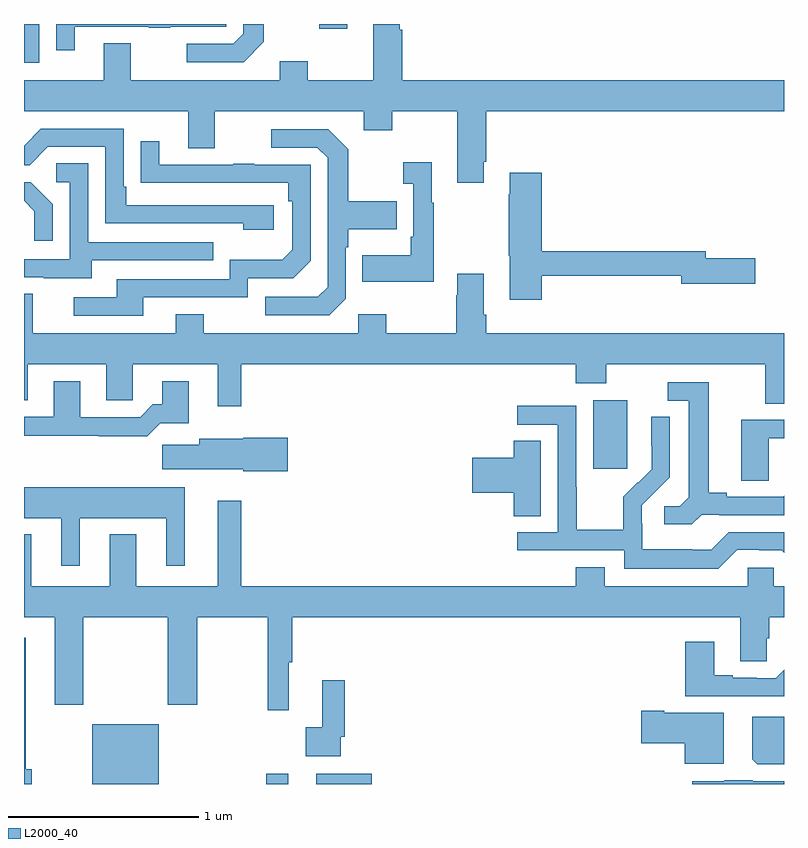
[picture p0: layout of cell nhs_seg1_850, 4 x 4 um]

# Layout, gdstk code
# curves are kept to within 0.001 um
import gdstk
lib = gdstk.Library(unit=1e-6, precision=1e-09)
def R(c, l, rs):  # rectangles x0, y0, x1, y1
    for r in rs: c.add(gdstk.rectangle(r[:2], r[2:], *l))
def P(c, l, *ps):  # polygons
    for p in ps: c.add(gdstk.Polygon(p, *l))
L2000_40 = (2000, 40)

nhs_seg1_850 = lib.new_cell('nhs_seg1_850')
R(nhs_seg1_850, L2000_40, [(157.358,540.199,157.708,540.514), (158.275,540.199,158.392,540.253), (158.537,540.199,158.83,540.253), (159.995,541.857,160.174,542.218), (157,543.996,157.08,544.199), (158.553,544.173,158.701,544.199)])
P(nhs_seg1_850, L2000_40, [(157.267,544.185),(157.657,544.185),(157.657,544.18),(157.769,544.18),(157.769,544.185),(158.064,544.185),(158.064,544.199),(157.171,544.199),(157.171,544.062),(157.267,544.062)],
  [(159.421,543.475),(159.434,543.475),(159.434,543.74),(161,543.74),(161,543.904),(158.99,543.904),(158.99,544.169),(158.977,544.169),(158.977,544.199),(158.837,544.199),(158.837,543.904),(158.493,543.904),(158.493,544.003),(158.345,544.003),(158.345,543.904),(157.561,543.904),(157.561,544.099),(157.421,544.099),(157.421,543.904),(157,543.904),(157,543.74),(157.865,543.74),(157.865,543.546),(158.005,543.546),(158.005,543.74),(158.789,543.74),(158.789,543.641),(158.937,543.641),(158.937,543.74),(159.281,543.74),(159.281,543.363),(159.421,543.363)],
  [(158.263,544.105),(158.263,544.199),(158.154,544.199),(158.154,544.149),(158.1,544.095),(157.857,544.095),(157.857,543.999),(158.157,543.999)],
  [(158.314,543.246),(157.537,543.246),(157.537,543.343),(157.524,543.343),(157.524,543.648),(157.089,543.648),(157,543.559),(157,543.456),(157.029,543.456),(157.125,543.552),(157.428,543.552),(157.428,543.15),(158.153,543.15),(158.153,543.116),(158.314,543.116)],
  [(158.694,542.754),(158.694,543.023),(158.707,543.023),(158.707,543.119),(158.963,543.119),(158.963,543.267),(158.707,543.267),(158.707,543.539),(158.601,543.645),(158.301,543.645),(158.301,543.549),(158.544,543.549),(158.598,543.495),(158.598,542.814),(158.547,542.763),(158.271,542.763),(158.271,542.667),(158.607,542.667)],
  [(157.627,542.76),(158.178,542.76),(158.178,542.862),(158.418,542.862),(158.508,542.952),(158.508,543.459),(158.213,543.459),(158.213,543.464),(158.101,543.464),(158.101,543.459),(157.711,543.459),(157.711,543.583),(157.615,543.583),(157.615,543.364),(158.392,543.363),(158.392,543.266),(158.412,543.266),(158.412,543.012),(158.359,542.959),(158.082,542.959),(158.082,542.856),(157.487,542.856),(157.487,542.76),(157.263,542.76),(157.263,542.664),(157.627,542.664)],
  [(159.157,543.259),(159.145,543.259),(159.145,543.472),(158.997,543.472),(158.997,543.359),(159.048,543.359),(159.048,543.079),(159.036,543.079),(159.036,542.983),(158.779,542.983),(158.779,542.843),(159.157,542.843)],
  [(157.357,542.955),(157.997,542.955),(157.997,543.051),(157.338,543.051),(157.338,543.467),(157.17,543.467),(157.17,543.366),(157.242,543.366),(157.242,542.961),(157,542.961),(157,542.865),(157.103,542.865),(157.103,542.861),(157.357,542.861)],
  [(159.725,542.874),(160.46,542.874),(160.46,542.831),(160.849,542.831),(160.849,542.966),(160.588,542.966),(160.588,543.002),(159.725,543.002),(159.725,543.415),(159.557,543.415),(159.557,543.302),(159.55,543.302),(159.55,542.979),(159.557,542.979),(159.557,542.748),(159.725,542.748)],
  [(157.152,543.25),(157.036,543.366),(157,543.366),(157,543.268),(157.055,543.213),(157.055,543.057),(157.152,543.057)],
  [(158.143,542.408),(159.905,542.408),(159.905,542.309),(160.065,542.309),(160.065,542.408),(160.901,542.408),(160.901,542.2),(161,542.2),(161,542.572),(159.434,542.572),(159.434,542.668),(159.421,542.668),(159.421,542.884),(159.281,542.884),(159.281,542.771),(159.274,542.771),(159.274,542.572),(158.907,542.572),(158.907,542.671),(158.76,542.671),(158.76,542.572),(157.947,542.572),(157.947,542.671),(157.799,542.671),(157.799,542.572),(157.045,542.572),(157.045,542.78),(157,542.78),(157,542.218),(157.021,542.218),(157.021,542.408),(157.433,542.408),(157.433,542.218),(157.572,542.218),(157.572,542.408),(158.021,542.408),(158.021,542.187),(158.143,542.187)],
  [(157.718,542.099),(157.867,542.099),(157.867,542.32),(157.727,542.32),(157.727,542.197),(157.678,542.197),(157.611,542.13),(157.297,542.13),(157.297,542.32),(157.157,542.32),(157.157,542.133),(157,542.133),(157,542.032),(157.393,542.032),(157.393,542.03),(157.649,542.03)],
  [(160.566,541.617),(160.66,541.617),(160.66,541.614),(161,541.614),(161,541.716),(160.994,541.71),(160.699,541.71),(160.699,541.733),(160.603,541.733),(160.603,542.313),(160.389,542.313),(160.389,542.217),(160.499,542.217),(160.499,541.709),(160.452,541.662),(160.371,541.662),(160.371,541.565),(160.514,541.565)],
  [(160.755,541.431),(160.871,541.431),(160.871,541.428),(160.989,541.428),(161,541.417),(161,541.524),(160.71,541.524),(160.617,541.431),(160.517,541.431),(160.517,541.435),(160.254,541.435),(160.254,541.569),(160.252,541.569),(160.252,541.666),(160.398,541.814),(160.398,542.132),(160.302,542.132),(160.302,541.978),(160.304,541.978),(160.304,541.856),(160.233,541.785),(160.23,541.788),(160.153,541.711),(160.153,541.537),(159.909,541.537),(159.909,541.76),(159.906,541.76),(159.906,542.19),(159.597,542.19),(159.597,542.091),(159.81,542.091),(159.81,541.524),(159.597,541.524),(159.597,541.428),(160.158,541.428),(160.158,541.331),(160.655,541.331)],
  [(160.92,542.019),(161,542.019),(161,542.115),(160.775,542.115),(160.775,541.795),(160.92,541.795)],
  [(158.389,542.022),(158.154,542.022),(158.154,542.017),(157.922,542.017),(157.922,541.985),(157.728,541.985),(157.728,541.856),(158.154,541.856),(158.154,541.844),(158.389,541.844)],
  [(159.721,542.006),(159.578,542.006),(159.578,541.916),(159.36,541.916),(159.36,541.733),(159.578,541.733),(159.578,541.609),(159.721,541.609)],
  [(157.294,541.598),(157.748,541.598),(157.748,541.347),(157.846,541.347),(157.846,541.762),(157,541.762),(157,541.598),(157.196,541.598),(157.196,541.347),(157.294,541.347)],
  [(158.393,540.84),(158.411,540.84),(158.411,541.076),(160.769,541.076),(160.769,540.844),(160.908,540.844),(160.908,540.966),(160.922,540.966),(160.922,541.076),(161,541.076),(161,541.24),(160.947,541.24),(160.947,541.338),(160.809,541.338),(160.809,541.24),(160.057,541.24),(160.057,541.339),(159.905,541.339),(159.905,541.24),(158.143,541.24),(158.143,541.69),(158.021,541.69),(158.021,541.24),(157.591,541.24),(157.591,541.513),(157.451,541.513),(157.451,541.24),(157.039,541.24),(157.039,541.513),(157,541.513),(157,541.076),(157.163,541.076),(157.163,540.615),(157.311,540.615),(157.311,541.076),(157.756,541.076),(157.756,540.615),(157.911,540.615),(157.911,541.076),(158.283,541.076),(158.283,540.588),(158.393,540.588)],
  [(157.041,540.276),(157.009,540.276),(157.009,540.97),(157,540.97),(157,540.199),(157.041,540.199)],
  [(161,540.8),(160.956,540.756),(160.856,540.756),(160.856,540.759),(160.729,540.759),(160.729,540.772),(160.633,540.772),(160.633,540.949),(160.481,540.949),(160.481,540.662),(161,540.662)],
  [(158.667,540.448),(158.687,540.448),(158.687,540.745),(158.57,540.745),(158.57,540.497),(158.484,540.497),(158.484,540.344),(158.667,540.344)],
  [(160.684,540.574),(160.371,540.574),(160.371,540.584),(160.248,540.584),(160.248,540.413),(160.478,540.413),(160.478,540.305),(160.684,540.305)],
  [(161,540.553),(160.832,540.553),(160.832,540.328),(160.858,540.302),(161,540.302)],
  [(161,540.213),(160.836,540.213),(160.836,540.22),(160.686,540.22),(160.686,540.214),(160.518,540.214),(160.518,540.199),(161,540.199)])

lib.write_gds('nhs_seg1_850.gds')
